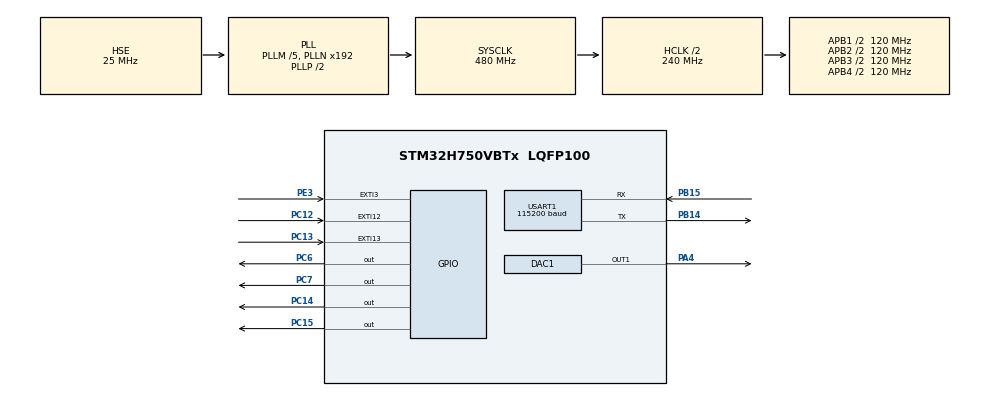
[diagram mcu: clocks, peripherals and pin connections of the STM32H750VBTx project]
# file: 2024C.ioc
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DAC1.DAC_Channel-DAC_OUT1=DAC_CHANNEL_1
LPTIM1.ClockPrescaler=LPTIM_PRESCALER_DIV128
LPTIM2.ClockPrescaler=LPTIM_PRESCALER_DIV128
Mcu.Family=STM32H7
Mcu.Name=STM32H750VBTx
Mcu.Package=LQFP100
NVIC.EXTI15_10_IRQn=true\:15\:0\:true\:false\:true\:true\:true\:true
NVIC.EXTI3_IRQn=true\:15\:0\:true\:false\:true\:true\:true\:true
NVIC.PriorityGroup=NVIC_PRIORITYGROUP_4
PA4.Signal=COMP_DAC11_group
PB14.Mode=Asynchronous
PB14.Signal=USART1_TX
PB15.Mode=Asynchronous
PB15.Signal=USART1_RX
PC12.GPIO_ModeDefaultEXTI=GPIO_MODE_IT_FALLING
PC12.Signal=GPXTI12
PC13.GPIO_ModeDefaultEXTI=GPIO_MODE_IT_FALLING
PC13.Signal=GPXTI13
PC14-OSC32_IN\ (OSC32_IN).Signal=GPIO_Output
PC15-OSC32_OUT\ (OSC32_OUT).Signal=GPIO_Output
PC6.Signal=GPIO_Output
PC7.Signal=GPIO_Output
PE3.GPIO_ModeDefaultEXTI=GPIO_MODE_IT_FALLING
PE3.Signal=GPXTI3
PH0-OSC_IN\ (PH0).Mode=HSE-External-Oscillator
PH0-OSC_IN\ (PH0).Signal=RCC_OSC_IN
PH1-OSC_OUT\ (PH1).Mode=HSE-External-Oscillator
PH1-OSC_OUT\ (PH1).Signal=RCC_OSC_OUT
ProjectManager.HeapSize=0x1000
ProjectManager.StackSize=0x20000
ProjectManager.TargetToolchain=MDK-ARM V5
RCC.ADCCLockSelection=RCC_ADCCLKSOURCE_PLL3
RCC.ADCFreq_Value=51200000
RCC.APB1Freq_Value=120000000
RCC.APB2Freq_Value=120000000
RCC.APB3Freq_Value=120000000
RCC.APB4Freq_Value=120000000
RCC.CKPERSourceSelection=RCC_CLKPSOURCE_CSI
RCC.CortexFreq_Value=480000000
RCC.D1PPRE=RCC_APB3_DIV2
RCC.D2PPRE1=RCC_APB1_DIV2
RCC.D2PPRE2=RCC_APB2_DIV2
RCC.D3PPRE=RCC_APB4_DIV2
RCC.DIVM1=5
RCC.DIVM2=25
RCC.DIVM3=25
RCC.DIVN1=192
RCC.DIVN2=240
RCC.DIVN3=256
RCC.DIVP3=10
RCC.DIVQ3=10
RCC.DIVR3=5
RCC.HCLKFreq_Value=240000000
RCC.HPRE=RCC_HCLK_DIV2
RCC.HRTIMCLockSelection=RCC_HRTIM1CLK_CPUCLK
RCC.LPTIM1CLockSelection=RCC_LPTIM1CLKSOURCE_CLKP
RCC.PLL2FRACN=0
RCC.PLL3FRACN=0
RCC.PLLFRACN=0
RCC.PLLSourceVirtual=RCC_PLLSOURCE_HSE
RCC.ProductRev=revV
RCC.SPI123CLockSelection=RCC_SPI123CLKSOURCE_PLL2
RCC.SYSCLKFreq_VALUE=480000000
RCC.SYSCLKSource=RCC_SYSCLKSOURCE_PLLCLK
RCC.USBFreq_Value=480000000
SH.COMP_DAC11_group.0=DAC1_OUT1,DAC_OUT1
TIM4.Prescaler=239
USART1.BaudRate=115200
USART1.Mode=MODE_TX
USART1.VirtualMode-Asynchronous=VM_ASYNC
VP_LPTIM1_VS_LPTIM_counterModeInternalClock.Mode=Counts__internal_clock_event_00
VP_LPTIM2_VS_LPTIM_counterModeInternalClock.Mode=Counts__internal_clock_event_00
VP_TIM4_VS_ClockSourceINT.Mode=Internal
VP_VREFBUF_V_VREFBUF.Mode=ExternalMode
board=custom

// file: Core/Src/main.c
/* USER CODE BEGIN Header */
/**
  ******************************************************************************
  * @file           : main.c
  * @brief          : Main program body
  ******************************************************************************
  * @attention
  *
  * Copyright (c) 2024 STMicroelectronics.
  * All rights reserved.
  *
  * This software is licensed under terms that can be found in the LICENSE file
  * in the root directory of this software component.
  * If no LICENSE file comes with this software, it is provided AS-IS.
  *
  ******************************************************************************
  */
/* USER CODE END Header */
#include "main.h"
#include "dac.h"
#include "lptim.h"
#include "tim.h"
#include "usart.h"
#include "gpio.h"

/* USER CODE BEGIN Includes */
#include "AD9959.h"
#include "HMC472.h"
#include "debug.h"
#include "ch455.h"
#include "delay.h"
/* USER CODE END Includes */

/* USER CODE BEGIN PTD */

#define VAMP_MIN 116 // 有效值是100mV

uint16_t vamp_L = VAMP_MIN;
uint16_t vamp_step = VAMP_MIN;
uint16_t vamp_min = VAMP_MIN;
uint16_t vamp_A_1 = 282; // 原来是845
uint16_t vamp_A_2 = 315; // 原来是945；待调试###

float vp_B = 0.6f;
#define VP_B 0.6f

uint32_t f_L = 35000000;

uint16_t deg = 0;

uint16_t attenuation = 0;
uint16_t attenuation_hmc= 0;

double adjust = 0.3;

float dac_voltage = 3.0f;//set dac output to 3V
uint32_t dac_value = (uint32_t)(VP_B/3.3f*4095.0f); //dac code

extern uint16_t CH455_KEY_RX_FLAG; //键盘接收状态标记
extern uint8_t CH455_KEY_NUM;			//按下键盘的值

uint8_t mode = 3; // 1是加法模式，0是减法模式，2是CW测量模式

/* USER CODE END PTD */

void SystemClock_Config(void);
void PeriphCommonClock_Config(void);

/* USER CODE BEGIN 0 */

void HAL_GPIO_EXTI_Callback(uint16_t GPIO_Pin){

		//注意要调整中断优先级使SYSTICK的高于按键中断
		HAL_Delay(50); //延时实现消抖，但在复杂程序不建议在中断中使用延时函数

		if (GPIO_Pin == GPIO_PIN_12){	// 判断中断来自于PC12管脚
				//判断PC12被按下
				if (GPIO_PIN_RESET == HAL_GPIO_ReadPin(GPIOC, GPIO_PIN_12)){
					HAL_GPIO_WritePin(GPIOC, GPIO_PIN_6, GPIO_PIN_SET);
					HAL_GPIO_WritePin(GPIOC, GPIO_PIN_7, GPIO_PIN_RESET);
					mode = 0;
					printf("t12.txt=\"- mode \"\xff\xff\xff");
				}
		}
		else if (GPIO_Pin == GPIO_PIN_3){	// 判断中断来自于PE3管脚
				if (GPIO_PIN_RESET == HAL_GPIO_ReadPin(GPIOC, GPIO_PIN_3)){
					HAL_GPIO_WritePin(GPIOC, GPIO_PIN_6, GPIO_PIN_RESET);
					HAL_GPIO_WritePin(GPIOC, GPIO_PIN_7, GPIO_PIN_SET);
					mode = 1;
					printf("t12.txt=\"+ mode \"\xff\xff\xff");
				}
		}
		else if (GPIO_Pin == GPIO_PIN_13){

			CH455_KEY_RX_FLAG = 1;

			CH455_KEY_NUM = CH455_Key_Read();

			if (CH455_KEY_NUM == 0){ // 调节RMS
				if (mode == 0){ // 减法模式
					HAL_GPIO_WritePin(GPIOC, GPIO_PIN_6, GPIO_PIN_RESET);
					HAL_Delay(100);
					HAL_GPIO_WritePin(GPIOC, GPIO_PIN_6, GPIO_PIN_SET);
					if(vamp_L - vamp_step > 0){
						vamp_L = vamp_L - vamp_step;
					}
					else if(vamp_L == 0){
						vamp_L = 1023;
					}
					else{
						vamp_L = 0;
					}
				}
				if (mode == 1){ // 加法模式
					HAL_GPIO_WritePin(GPIOC, GPIO_PIN_7, GPIO_PIN_RESET);
					HAL_Delay(100);
					HAL_GPIO_WritePin(GPIOC, GPIO_PIN_7, GPIO_PIN_SET);
					if(vamp_L + vamp_step < 1024){
						vamp_L = vamp_L + vamp_step;
					}
					else if(vamp_L == 1023){
						vamp_L = vamp_min;
					}
					else{
						vamp_L = 1023;
					}
				}
				AD9959_SetAmp4Channel(vamp_L,vamp_A_1,vamp_L,vamp_A_2);

				printf("t6.txt=\"%d \"\xff\xff\xff",vamp_L);
			}
			if (CH455_KEY_NUM == 1){ // 调节调制
				if (mode == 0){ // 减法模式
					HAL_GPIO_WritePin(GPIOC, GPIO_PIN_6, GPIO_PIN_RESET);
					HAL_Delay(100);
					HAL_GPIO_WritePin(GPIOC, GPIO_PIN_6, GPIO_PIN_SET);
					if(adjust - 0.1 > 0.22){
						adjust = adjust - 0.1;
					}
					else if((adjust - 0.3 < 0.05) | (0.3 - adjust < 0.05)){
						adjust = 0.9;
					}
					else{
						adjust = 0.3;
					}
				}
				if (mode == 1){ // 加法模式
					HAL_GPIO_WritePin(GPIOC, GPIO_PIN_7, GPIO_PIN_RESET);
					HAL_Delay(100);
					HAL_GPIO_WritePin(GPIOC, GPIO_PIN_7, GPIO_PIN_SET);
					if(adjust + 0.1 < 0.98){
						adjust = adjust + 0.1;
					}
					else if((adjust - 0.9 < 0.05) | (0.9 - adjust < 0.05)){
						adjust = 0.3;
					}
					else{
						adjust = 0.9;
					}
				}

				dac_voltage = vp_B / adjust;
				if (dac_voltage > 3.25f){dac_voltage = 3.3f;}
				dac_value = (uint32_t)(dac_voltage/3.3f*4095.0f);
				HAL_DAC_SetValue(&hdac1,DAC_CHANNEL_1,DAC_ALIGN_12B_R,dac_value);//channel 1 output

				printf("t13.txt=\"%f V \"\xff\xff\xff",dac_voltage);
				printf("t7.txt=\"%d %% \"\xff\xff\xff",(int)(adjust*100.0+0.01));
			}
			if (CH455_KEY_NUM == 2){ // 调节频率
				if (mode == 0){ // 减法模式
					HAL_GPIO_WritePin(GPIOC, GPIO_PIN_6, GPIO_PIN_RESET);
					HAL_Delay(100);
					HAL_GPIO_WritePin(GPIOC, GPIO_PIN_6, GPIO_PIN_SET);
					if(f_L - 1000000 > 30000000){
						f_L = f_L - 1000000;
					}
					else if(f_L == 30000000){
						f_L = 40000000;
					}
					else{
						f_L = 30000000;
					}
				}
				if (mode == 1){ // 加法模式
					HAL_GPIO_WritePin(GPIOC, GPIO_PIN_7, GPIO_PIN_RESET);
					HAL_Delay(100);
					HAL_GPIO_WritePin(GPIOC, GPIO_PIN_7, GPIO_PIN_SET);
					if(f_L + 1000000 < 40000000){
						f_L = f_L + 1000000;
					}
					else if(f_L == 40000000){
						f_L = 30000000;
					}
					else{
						f_L = 40000000;
					}
				}
				AD9959_SetFrequency4Channel(f_L,2000000,f_L,2000000);

				printf("t8.txt=\"%d MHz  \"\xff\xff\xff",f_L/1000000);
			}

			if (CH455_KEY_NUM == 3){ // 调节衰减db
				if (mode == 0){ // 减法模式
					HAL_GPIO_WritePin(GPIOC, GPIO_PIN_6, GPIO_PIN_RESET);
					HAL_Delay(100);
					HAL_GPIO_WritePin(GPIOC, GPIO_PIN_6, GPIO_PIN_SET);
					if(attenuation - 2 > 0){
						attenuation = attenuation - 2;
					}
					else if(attenuation == 0){
						attenuation = 20;
					}
					else{
						attenuation = 0;
					}
				}
				if (mode == 1){ // 加法模式
					HAL_GPIO_WritePin(GPIOC, GPIO_PIN_7, GPIO_PIN_RESET);
					HAL_Delay(100);
					HAL_GPIO_WritePin(GPIOC, GPIO_PIN_7, GPIO_PIN_SET);
					if(attenuation + 2 < 20){
						attenuation = attenuation + 2;
					}
					else if(attenuation == 20){
						attenuation = 0;
					}
					else{
						attenuation = 20;
					}
				}

				attenuation_hmc = attenuation * 2;
				HMC472set(attenuation_hmc);

				printf("t9.txt=\"%d dB\"\xff\xff\xff",attenuation);
			}

			if (CH455_KEY_NUM == 4){ // 调节延迟
				HAL_GPIO_WritePin(GPIOC, GPIO_PIN_6, GPIO_PIN_RESET);
				HAL_Delay(100);
				HAL_GPIO_WritePin(GPIOC, GPIO_PIN_6, GPIO_PIN_SET);
			}

			if (CH455_KEY_NUM == 5){ // 调节相位
				if (mode == 0){ // 减法模式
					HAL_GPIO_WritePin(GPIOC, GPIO_PIN_6, GPIO_PIN_RESET);
					HAL_Delay(100);
					HAL_GPIO_WritePin(GPIOC, GPIO_PIN_6, GPIO_PIN_SET);
					if(deg - 30 > 0){
						deg = deg - 30;
					}
					else if(deg == 0){
						deg = 180;
					}
					else{
						deg = 0;
					}
				}
				if (mode == 1){ // 加法模式
					HAL_GPIO_WritePin(GPIOC, GPIO_PIN_7, GPIO_PIN_RESET);
					HAL_Delay(100);
					HAL_GPIO_WritePin(GPIOC, GPIO_PIN_7, GPIO_PIN_SET);
					if(deg + 30 < 180){
						deg = deg + 30;
					}
					else if(deg == 180){
						deg = 0;
					}
					else{
						deg = 180;
					}
				}
				AD9959_SetPhase4Channel(0,0,0,deg);

				printf("t11.txt=\"%d deg \"\xff\xff\xff",deg);
			}

			if (CH455_KEY_NUM == 6){ // 开启CW测量模式，直流偏置为1V
				uint8_t i;
				for (i = 0; i < 3; i++){
					HAL_GPIO_WritePin(GPIOC, GPIO_PIN_6, GPIO_PIN_SET);HAL_GPIO_WritePin(GPIOC, GPIO_PIN_7, GPIO_PIN_SET);
					HAL_Delay(100);
					HAL_GPIO_WritePin(GPIOC, GPIO_PIN_6, GPIO_PIN_RESET);HAL_GPIO_WritePin(GPIOC, GPIO_PIN_7, GPIO_PIN_RESET);
					HAL_Delay(100);
				}
				mode = 2;
				dac_voltage = 1.0;
				vamp_A_1 = 0;

				AD9959_SetAmp4Channel(vamp_L,vamp_A_1,vamp_L,vamp_A_2);

				printf("t12.txt=\"CW test \"\xff\xff\xff");
				printf("t13.txt=\"%d V \"\xff\xff\xff",(int)(dac_voltage));
			}
			__HAL_GPIO_EXTI_CLEAR_FLAG(GPIO_PIN_13);
		}
}

/* USER CODE END 0 */

int main(void)
{
  /* USER CODE BEGIN 1 */

	uint32_t i = 0;
  /* USER CODE END 1 */

  /* MCU Configuration--------------------------------------------------------*/

  /* Reset of all peripherals, Initializes the Flash interface and the Systick. */
  HAL_Init();

  /* Configure the system clock */
  SystemClock_Config();

/* Configure the peripherals common clocks */
  PeriphCommonClock_Config();

  /* Initialize all configured peripherals */
  MX_GPIO_Init();
  MX_USART1_UART_Init();
  MX_LPTIM1_Init();
  MX_LPTIM2_Init();
  MX_TIM4_Init();
  MX_DAC1_Init();
	HMC472_Init();
  /* USER CODE BEGIN 2 */

	HAL_DAC_Start(&hdac1,DAC_CHANNEL_1);//dac1 open
	HAL_DAC_SetValue(&hdac1,DAC_CHANNEL_1,DAC_ALIGN_12B_R,dac_value);//channel 1 output

	Init_AD9959();
	AD9959_SetFrequency4Channel(f_L,2000000,f_L,2000000);
	AD9959_SetAmp4Channel(vamp_L,vamp_A_1,vamp_L,vamp_A_2);
	AD9959_SetPhase4Channel(0,0,0,deg);

	attenuation_hmc = attenuation * 2;
	HMC472set(attenuation_hmc);

	printf("t12.txt=\"+ mode \"\xff\xff\xff");
	printf("t6.txt=\"%d \"\xff\xff\xff",vamp_L);
	printf("t7.txt=\"%d %% \"\xff\xff\xff",(int)(adjust*100.0+0.01));
	printf("t8.txt=\"%d MHz  \"\xff\xff\xff",f_L/1000000);
	printf("t11.txt=\"%d deg \"\xff\xff\xff",deg);
	printf("t13.txt=\"%f V \"\xff\xff\xff",dac_voltage);

  for (i = 0; i < 3; i = i + 1){
		HAL_GPIO_WritePin(GPIOC, GPIO_PIN_7, GPIO_PIN_SET);HAL_GPIO_WritePin(GPIOC, GPIO_PIN_6, GPIO_PIN_SET);
		HAL_Delay(200);
		HAL_GPIO_WritePin(GPIOC, GPIO_PIN_7, GPIO_PIN_RESET);HAL_GPIO_WritePin(GPIOC, GPIO_PIN_6, GPIO_PIN_RESET);
		HAL_Delay(200);
	}

	delay_init(480);//延时函数初始化
	delay_ms(100);//100ms必须加，ch455上电后需要一段时间才能启动
	CH455_init();//ch455 初始化

	CH455_Display(1,1);//数码管1显示1
	CH455_Display(2,2);//数码管2显示2
	CH455_Display(3,3);//数码管3显示3
	CH455_Display(4,4);//数码管4显示4
  /* USER CODE END 2 */

  /* Infinite loop */
  /* USER CODE BEGIN WHILE */
	HAL_GPIO_WritePin(GPIOC, GPIO_PIN_6, GPIO_PIN_RESET);
	HAL_GPIO_WritePin(GPIOC, GPIO_PIN_7, GPIO_PIN_RESET);

	while (1)
  {
		if(CH455_KEY_RX_FLAG == 1)	//键盘按下，在终端中读取CH455寄存器完成后
		{
			CH455_Display(1,CH455_KEY_NUM);//数码管显示按键值
			CH455_Display(2,CH455_KEY_NUM);
			CH455_Display(3,CH455_KEY_NUM);
			CH455_Display(4,CH455_KEY_NUM);
			CH455_KEY_RX_FLAG = 0;
		}
		HAL_Delay(100);		//延时
    /* USER CODE END WHILE */
  }
}

void SystemClock_Config(void)
{
  RCC_OscInitTypeDef RCC_OscInitStruct = {0};
  RCC_ClkInitTypeDef RCC_ClkInitStruct = {0};

  /** Supply configuration update enable
  */
  HAL_PWREx_ConfigSupply(PWR_LDO_SUPPLY);
  /** Configure the main internal regulator output voltage
  */
  __HAL_PWR_VOLTAGESCALING_CONFIG(PWR_REGULATOR_VOLTAGE_SCALE0);

  while(!__HAL_PWR_GET_FLAG(PWR_FLAG_VOSRDY)) {}
  /** Initializes the RCC Oscillators according to the specified parameters
  * in the RCC_OscInitTypeDef structure.
  */
  RCC_OscInitStruct.OscillatorType = RCC_OSCILLATORTYPE_CSI|RCC_OSCILLATORTYPE_HSE;
  RCC_OscInitStruct.HSEState = RCC_HSE_ON;
  RCC_OscInitStruct.CSIState = RCC_CSI_ON;
  RCC_OscInitStruct.CSICalibrationValue = RCC_CSICALIBRATION_DEFAULT;
  RCC_OscInitStruct.PLL.PLLState = RCC_PLL_ON;
  RCC_OscInitStruct.PLL.PLLSource = RCC_PLLSOURCE_HSE;
  RCC_OscInitStruct.PLL.PLLM = 5;
  RCC_OscInitStruct.PLL.PLLN = 192;
  RCC_OscInitStruct.PLL.PLLP = 2;
  RCC_OscInitStruct.PLL.PLLQ = 2;
  RCC_OscInitStruct.PLL.PLLR = 2;
  RCC_OscInitStruct.PLL.PLLRGE = RCC_PLL1VCIRANGE_2;
  RCC_OscInitStruct.PLL.PLLVCOSEL = RCC_PLL1VCOWIDE;
  RCC_OscInitStruct.PLL.PLLFRACN = 0;
  if (HAL_RCC_OscConfig(&RCC_OscInitStruct) != HAL_OK)
  {
    Error_Handler();
  }
  /** Initializes the CPU, AHB and APB buses clocks
  */
  RCC_ClkInitStruct.ClockType = RCC_CLOCKTYPE_HCLK|RCC_CLOCKTYPE_SYSCLK
                              |RCC_CLOCKTYPE_PCLK1|RCC_CLOCKTYPE_PCLK2
                              |RCC_CLOCKTYPE_D3PCLK1|RCC_CLOCKTYPE_D1PCLK1;
  RCC_ClkInitStruct.SYSCLKSource = RCC_SYSCLKSOURCE_PLLCLK;
  RCC_ClkInitStruct.SYSCLKDivider = RCC_SYSCLK_DIV1;
  RCC_ClkInitStruct.AHBCLKDivider = RCC_HCLK_DIV2;
  RCC_ClkInitStruct.APB3CLKDivider = RCC_APB3_DIV2;
  RCC_ClkInitStruct.APB1CLKDivider = RCC_APB1_DIV2;
  RCC_ClkInitStruct.APB2CLKDivider = RCC_APB2_DIV2;
  RCC_ClkInitStruct.APB4CLKDivider = RCC_APB4_DIV2;

  if (HAL_RCC_ClockConfig(&RCC_ClkInitStruct, FLASH_LATENCY_4) != HAL_OK)
  {
    Error_Handler();
  }
}

void PeriphCommonClock_Config(void)
{
  RCC_PeriphCLKInitTypeDef PeriphClkInitStruct = {0};

  /** Initializes the peripherals clock
  */
  PeriphClkInitStruct.PeriphClockSelection = RCC_PERIPHCLK_CKPER;
  PeriphClkInitStruct.CkperClockSelection = RCC_CLKPSOURCE_CSI;
  if (HAL_RCCEx_PeriphCLKConfig(&PeriphClkInitStruct) != HAL_OK)
  {
    Error_Handler();
  }
}

void Error_Handler(void)
{
  __disable_irq();
  while (1)
  {
  }
}

/************************ (C) COPYRIGHT STMicroelectronics *****END OF FILE****/
